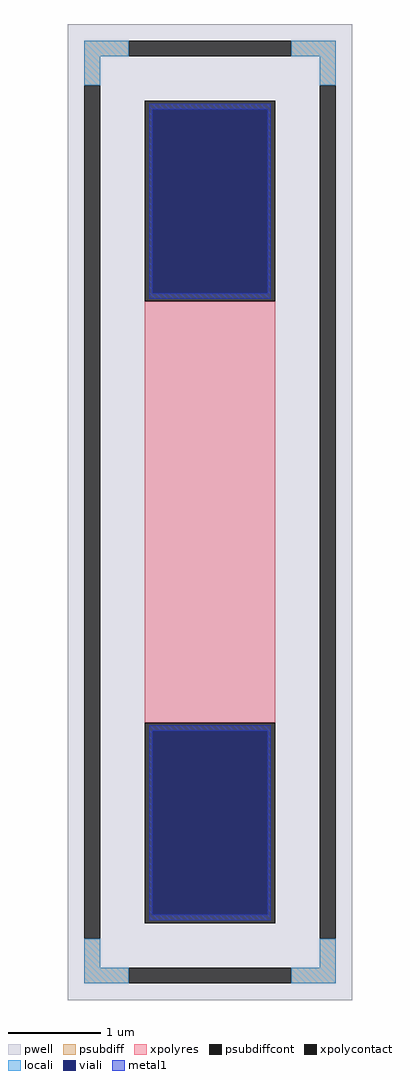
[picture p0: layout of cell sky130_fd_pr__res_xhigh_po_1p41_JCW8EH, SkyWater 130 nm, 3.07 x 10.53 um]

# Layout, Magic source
magic
tech sky130A
magscale 1 2
<< pwell >>
rect -307 -1053 307 1053
<< psubdiff >>
rect -271 983 -175 1017
rect 175 983 271 1017
rect -271 921 -237 983
rect 237 921 271 983
rect -271 -983 -237 -921
rect 237 -983 271 -921
rect -271 -1017 -175 -983
rect 175 -1017 271 -983
<< psubdiffcont >>
rect -175 983 175 1017
rect -271 -921 -237 921
rect 237 -921 271 921
rect -175 -1017 175 -983
<< xpolycontact >>
rect -141 455 141 887
rect -141 -887 141 -455
<< xpolyres >>
rect -141 -455 141 455
<< locali >>
rect -271 983 -175 1017
rect 175 983 271 1017
rect -271 921 -237 983
rect 237 921 271 983
rect -271 -983 -237 -921
rect 237 -983 271 -921
rect -271 -1017 -175 -983
rect 175 -1017 271 -983
<< viali >>
rect -125 472 125 869
rect -125 -869 125 -472
<< metal1 >>
rect -131 869 131 881
rect -131 472 -125 869
rect 125 472 131 869
rect -131 460 131 472
rect -131 -472 131 -460
rect -131 -869 -125 -472
rect 125 -869 131 -472
rect -131 -881 131 -869
<< properties >>
string FIXED_BBOX -254 -1000 254 1000
string gencell sky130_fd_pr__res_xhigh_po_1p41
string library sky130
string parameters w 1.410 l 4.705 m 1 nx 1 wmin 1.410 lmin 0.50 rho 2000 val 6.94k dummy 0 dw 0.0 term 188.2 sterm 0.0 caplen 0 wmax 1.410 guard 1 glc 1 grc 1 gtc 1 gbc 1 compatible {sky130_fd_pr__res_xhigh_po_0p35  sky130_fd_pr__res_xhigh_po_0p69 sky130_fd_pr__res_xhigh_po_1p41  sky130_fd_pr__res_xhigh_po_2p85 sky130_fd_pr__res_xhigh_po_5p73} snake 0 full_metal 1 n_guard 0 hv_guard 0 vias 1 viagb 0 viagt 0 viagl 0 viagr 0
<< end >>
